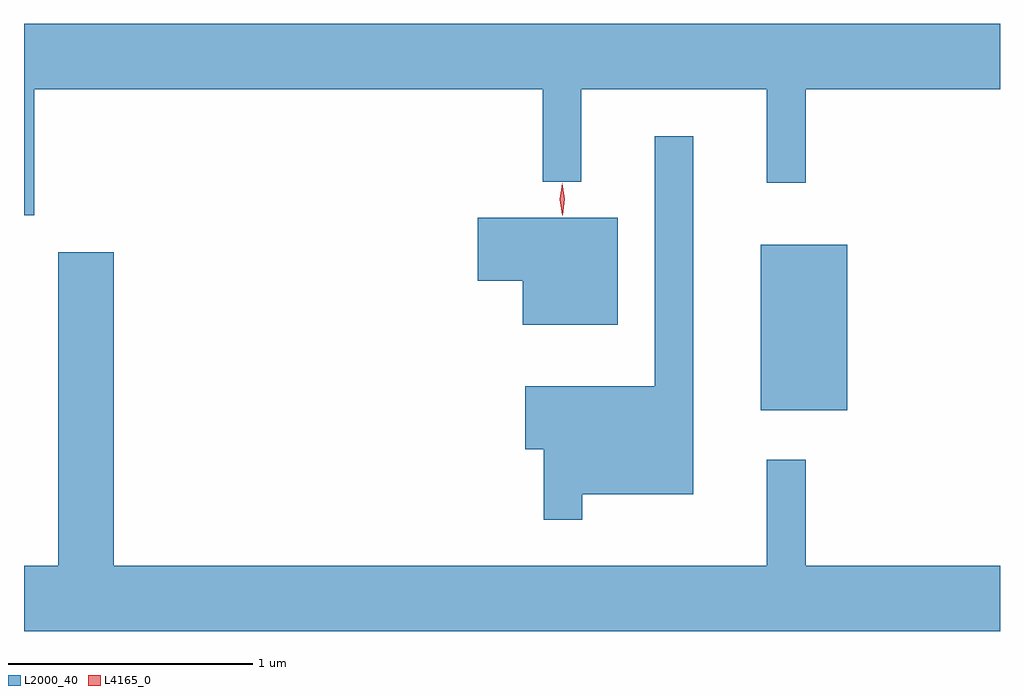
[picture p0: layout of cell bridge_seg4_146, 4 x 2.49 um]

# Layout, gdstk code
import gdstk
lib = gdstk.Library(unit=1e-6, precision=1e-09)
def R(c, l, rs):  # rectangles x0, y0, x1, y1
    for r in rs: c.add(gdstk.rectangle(r[:2], r[2:], *l))
def P(c, l, *ps):  # polygons
    for p in ps: c.add(gdstk.Polygon(p, *l))
L2000_40 = (2000, 40)
L4165_0 = (4165, 0)

bridge_seg4_146 = lib.new_cell('bridge_seg4_146')
R(bridge_seg4_146, L2000_40, [(790.501,1280.101,790.854,1280.779)])
P(bridge_seg4_146, L2000_40, [(787.524,1281.416),(789.606,1281.416),(789.606,1281.038),(789.764,1281.038),(789.764,1281.416),(790.526,1281.416),(790.526,1281.033),(790.684,1281.033),(790.684,1281.416),(791.481,1281.416),(791.481,1281.684),(787.481,1281.684),(787.481,1280.901),(787.524,1280.901)],
  [(789.769,1279.756),(790.224,1279.756),(790.224,1281.223),(790.066,1281.223),(790.066,1280.199),(789.536,1280.199),(789.536,1279.941),(789.611,1279.941),(789.611,1279.653),(789.769,1279.653)],
  [(789.914,1280.889),(789.341,1280.889),(789.341,1280.631),(789.526,1280.631),(789.526,1280.451),(789.914,1280.451)],
  [(791.481,1279.464),(790.684,1279.464),(790.684,1279.898),(790.526,1279.898),(790.526,1279.464),(787.849,1279.464),(787.849,1280.749),(787.621,1280.749),(787.621,1279.464),(787.481,1279.464),(787.481,1279.196),(791.481,1279.196)])
P(bridge_seg4_146, L4165_0, [(789.687,1280.9),(789.687,1280.901),(789.677,1280.966),(789.686,1281.031),(789.687,1281.031),(789.687,1281.031),(789.697,1280.966),(789.688,1280.901)])

lib.write_gds('bridge_seg4_146.gds')
